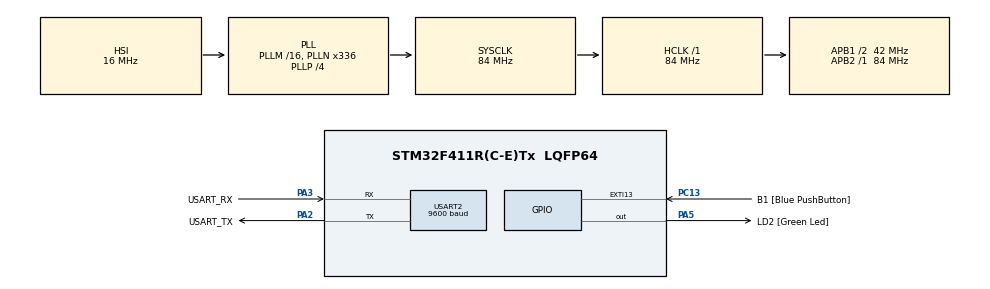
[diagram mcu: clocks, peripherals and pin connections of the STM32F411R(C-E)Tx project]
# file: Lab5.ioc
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Mcu.Family=STM32F4
Mcu.Name=STM32F411R(C-E)Tx
Mcu.Package=LQFP64
NVIC.EXTI15_10_IRQn=true\:0\:0\:false\:false\:true\:true\:true\:true
NVIC.PriorityGroup=NVIC_PRIORITYGROUP_0
NVIC.USART2_IRQn=true\:0\:0\:false\:false\:true\:true\:true\:true
PA13.GPIO_Label=TMS
PA13.Mode=Serial_Wire
PA13.Signal=SYS_JTMS-SWDIO
PA14.GPIO_Label=TCK
PA14.Mode=Serial_Wire
PA14.Signal=SYS_JTCK-SWCLK
PA2.GPIO_Label=USART_TX
PA2.Mode=Asynchronous
PA2.Signal=USART2_TX
PA3.GPIO_Label=USART_RX
PA3.Mode=Asynchronous
PA3.Signal=USART2_RX
PA5.GPIO_Label=LD2 [Green Led]
PA5.Signal=GPIO_Output
PB3.GPIO_Label=SWO
PB3.Signal=SYS_JTDO-SWO
PC13-ANTI_TAMP.GPIO_Label=B1 [Blue PushButton]
PC13-ANTI_TAMP.GPIO_ModeDefaultEXTI=GPIO_MODE_IT_RISING_FALLING
PC13-ANTI_TAMP.Signal=GPXTI13
PC14-OSC32_IN.Mode=LSE-External-Oscillator
PC14-OSC32_IN.Signal=RCC_OSC32_IN
PC15-OSC32_OUT.Mode=LSE-External-Oscillator
PC15-OSC32_OUT.Signal=RCC_OSC32_OUT
PH0\ -\ OSC_IN.Mode=HSE-External-Clock-Source
PH0\ -\ OSC_IN.Signal=RCC_OSC_IN
PH1\ -\ OSC_OUT.Mode=HSE-External-Clock-Source
PH1\ -\ OSC_OUT.Signal=RCC_OSC_OUT
ProjectManager.HeapSize=0x200
ProjectManager.StackSize=0x400
ProjectManager.TargetToolchain=STM32CubeIDE
RCC.48MHZClocksFreq_Value=84000000
RCC.AHBFreq_Value=84000000
RCC.APB1CLKDivider=RCC_HCLK_DIV2
RCC.APB1Freq_Value=42000000
RCC.APB1TimFreq_Value=84000000
RCC.APB2Freq_Value=84000000
RCC.APB2TimFreq_Value=84000000
RCC.CortexFreq_Value=84000000
RCC.FLatency-AdvancedSettings=FLASH_LATENCY_2
RCC.HCLKFreq_Value=84000000
RCC.HSE_VALUE=8000000
RCC.HSI_VALUE=16000000
RCC.PLLN=336
RCC.PLLP=RCC_PLLP_DIV4
RCC.SYSCLKFreq_VALUE=84000000
RCC.SYSCLKSource=RCC_SYSCLKSOURCE_PLLCLK
RCC.VCOOutputFreq_Value=336000000
USART2.BaudRate=9600
USART2.VirtualMode=VM_ASYNC
board=NUCLEO-F411RE

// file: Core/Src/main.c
/* USER CODE BEGIN Header */
/**
  ******************************************************************************
  * @file           : main.c
  * @brief          : Main program body
  ******************************************************************************
  * @attention
  *
  * Copyright (c) 2023 STMicroelectronics.
  * All rights reserved.
  *
  * This software is licensed under terms that can be found in the LICENSE file
  * in the root directory of this software component.
  * If no LICENSE file comes with this software, it is provided AS-IS.
  *
  ******************************************************************************
  */
/* USER CODE END Header */
#include "main.h"

/* USER CODE BEGIN Includes */
#include "stdio.h"
#include "string.h"
/* USER CODE END Includes */

UART_HandleTypeDef huart2;

/* USER CODE BEGIN PV */
uint8_t RxBuffer[5];
uint8_t TxBuffer[250];

uint32_t LED2HzAmount = 5;

uint8_t MenuStatus = 99;
uint8_t LED2Status = 1;
/* USER CODE END PV */

void SystemClock_Config(void);
static void MX_GPIO_Init(void);
static void MX_USART2_UART_Init(void);
/* USER CODE BEGIN PFP */
void UARTinterupt();
void BlinkLED();
void UARTinteruptConfig();
/* USER CODE END PFP */

int main(void)
{

  /* MCU Configuration--------------------------------------------------------*/

  /* Reset of all peripherals, Initializes the Flash interface and the Systick. */
  HAL_Init();

  /* Configure the system clock */
  SystemClock_Config();

  /* Initialize all configured peripherals */
  MX_GPIO_Init();
  MX_USART2_UART_Init();
  /* USER CODE BEGIN 2 */
  UARTinteruptConfig();
  /* USER CODE END 2 */

  /* Infinite loop */
  while (1)
  {

    /* USER CODE BEGIN 3 */
	BlinkLED();
  }
  /* USER CODE END 3 */
}

void SystemClock_Config(void)
{
  RCC_OscInitTypeDef RCC_OscInitStruct = {0};
  RCC_ClkInitTypeDef RCC_ClkInitStruct = {0};

  /** Configure the main internal regulator output voltage
  */
  __HAL_RCC_PWR_CLK_ENABLE();
  __HAL_PWR_VOLTAGESCALING_CONFIG(PWR_REGULATOR_VOLTAGE_SCALE1);

  /** Initializes the RCC Oscillators according to the specified parameters
  * in the RCC_OscInitTypeDef structure.
  */
  RCC_OscInitStruct.OscillatorType = RCC_OSCILLATORTYPE_HSI;
  RCC_OscInitStruct.HSIState = RCC_HSI_ON;
  RCC_OscInitStruct.HSICalibrationValue = RCC_HSICALIBRATION_DEFAULT;
  RCC_OscInitStruct.PLL.PLLState = RCC_PLL_ON;
  RCC_OscInitStruct.PLL.PLLSource = RCC_PLLSOURCE_HSI;
  RCC_OscInitStruct.PLL.PLLM = 16;
  RCC_OscInitStruct.PLL.PLLN = 336;
  RCC_OscInitStruct.PLL.PLLP = RCC_PLLP_DIV4;
  RCC_OscInitStruct.PLL.PLLQ = 4;
  if (HAL_RCC_OscConfig(&RCC_OscInitStruct) != HAL_OK)
  {
    Error_Handler();
  }

  /** Initializes the CPU, AHB and APB buses clocks
  */
  RCC_ClkInitStruct.ClockType = RCC_CLOCKTYPE_HCLK|RCC_CLOCKTYPE_SYSCLK
                              |RCC_CLOCKTYPE_PCLK1|RCC_CLOCKTYPE_PCLK2;
  RCC_ClkInitStruct.SYSCLKSource = RCC_SYSCLKSOURCE_PLLCLK;
  RCC_ClkInitStruct.AHBCLKDivider = RCC_SYSCLK_DIV1;
  RCC_ClkInitStruct.APB1CLKDivider = RCC_HCLK_DIV2;
  RCC_ClkInitStruct.APB2CLKDivider = RCC_HCLK_DIV1;

  if (HAL_RCC_ClockConfig(&RCC_ClkInitStruct, FLASH_LATENCY_2) != HAL_OK)
  {
    Error_Handler();
  }
}

static void MX_USART2_UART_Init(void)
{

  huart2.Instance = USART2;
  huart2.Init.BaudRate = 9600;
  huart2.Init.WordLength = UART_WORDLENGTH_8B;
  huart2.Init.StopBits = UART_STOPBITS_1;
  huart2.Init.Parity = UART_PARITY_NONE;
  huart2.Init.Mode = UART_MODE_TX_RX;
  huart2.Init.HwFlowCtl = UART_HWCONTROL_NONE;
  huart2.Init.OverSampling = UART_OVERSAMPLING_16;
  if (HAL_UART_Init(&huart2) != HAL_OK)
  {
    Error_Handler();
  }

}

static void MX_GPIO_Init(void)
{
  GPIO_InitTypeDef GPIO_InitStruct = {0};

  /* GPIO Ports Clock Enable */
  __HAL_RCC_GPIOC_CLK_ENABLE();
  __HAL_RCC_GPIOH_CLK_ENABLE();
  __HAL_RCC_GPIOA_CLK_ENABLE();
  __HAL_RCC_GPIOB_CLK_ENABLE();

  /*Configure GPIO pin Output Level */
  HAL_GPIO_WritePin(LD2_GPIO_Port, LD2_Pin, GPIO_PIN_RESET);

  /*Configure GPIO pin : B1_Pin */
  GPIO_InitStruct.Pin = B1_Pin;
  GPIO_InitStruct.Mode = GPIO_MODE_IT_RISING_FALLING;
  GPIO_InitStruct.Pull = GPIO_NOPULL;
  HAL_GPIO_Init(B1_GPIO_Port, &GPIO_InitStruct);

  /*Configure GPIO pin : LD2_Pin */
  GPIO_InitStruct.Pin = LD2_Pin;
  GPIO_InitStruct.Mode = GPIO_MODE_OUTPUT_PP;
  GPIO_InitStruct.Pull = GPIO_NOPULL;
  GPIO_InitStruct.Speed = GPIO_SPEED_FREQ_LOW;
  HAL_GPIO_Init(LD2_GPIO_Port, &GPIO_InitStruct);

  /* EXTI interrupt init*/
  HAL_NVIC_SetPriority(EXTI15_10_IRQn, 0, 0);
  HAL_NVIC_EnableIRQ(EXTI15_10_IRQn);

}

/* USER CODE BEGIN 4 */
void UARTinteruptConfig(){
	HAL_UART_Receive_IT(&huart2, RxBuffer, 1);
	sprintf((char*)TxBuffer, "Main Menu:\n\n\r 0 - LD2 Control\n\r 1 - BTN1 Status\n\n\rEnter Option to Continue: ");
	HAL_UART_Transmit_IT(&huart2, TxBuffer, strlen((char*)TxBuffer));
}

void HAL_GPIO_EXTI_Callback (uint16_t GPIO_Pin){
	if (GPIO_Pin == GPIO_PIN_13){
		if (MenuStatus == 1){
			sprintf((char*)TxBuffer, "BTN1 Triggered\r\nBTN1 Status Panel:\n\n\r push B1 - Report Status\n\r x - Back\n\n\rEnter Option to Continue: ");
			HAL_UART_Transmit_IT(&huart2, TxBuffer, strlen((char*)TxBuffer));
		}
	}
}

void HAL_UART_RxCpltCallback(UART_HandleTypeDef *huart){
	if (huart == &huart2){
		RxBuffer[1]='\0';

//		sprintf((char*)TxBuffer, "%s\r\n", RxBuffer);
//		HAL_UART_Transmit_IT(&huart2, TxBuffer, strlen((char*)TxBuffer));

		// toggle menu
		if (MenuStatus == 99){
			if (RxBuffer[0] == 48){
				sprintf((char*)TxBuffer, "%s\r\nLD2 Control Panel:\n\n\r a - Speed Up 1Hz\n\r s - Speed Down 1Hz\n\r d - On-Off\n\r x - Back\n\n\rEnter Option to Continue: " ,RxBuffer);
				HAL_UART_Transmit_IT(&huart2, TxBuffer, strlen((char*)TxBuffer));
				MenuStatus = 0;
			}
			else if (RxBuffer[0] == 49){
				sprintf((char*)TxBuffer, "%s\r\nBTN1 Status Panel:\n\n\r push B1 - Report Status\n\r x - Back\n\n\rEnter Option to Continue: " ,RxBuffer);
				HAL_UART_Transmit_IT(&huart2, TxBuffer, strlen((char*)TxBuffer));
				MenuStatus = 1;
			}
			else {
				sprintf((char*)TxBuffer, "%s\r\nWrong input - Return to Main Menu\n\r\nMain Menu:\n\n\r 0 - LD2 Control\n\r 1 - BTN1 Status\n\n\rEnter Option to Continue: " ,RxBuffer);
				HAL_UART_Transmit_IT(&huart2, TxBuffer, strlen((char*)TxBuffer));
			}
		}

		// LED2 sub-menu
		if (MenuStatus == 0){
			// a
			if(RxBuffer[0] == 97){
				LED2HzAmount += 1;
				sprintf((char*)TxBuffer, "%s\r\nSpeed up to %lu Hz \r\nLD2 Control Panel:\n\n\r a - Speed Up 1Hz\n\r s - Speed Down 1Hz\n\r d - On-Off\n\r x - Back\n\n\rEnter Option to Continue: " ,RxBuffer ,LED2HzAmount);
				HAL_UART_Transmit_IT(&huart2, TxBuffer, strlen((char*)TxBuffer));

			}
			// s
			else if (RxBuffer[0] == 115){
				if(LED2HzAmount>1){LED2HzAmount -= 1;}
				sprintf((char*)TxBuffer, "%s\r\nSpeed down to %lu Hz \r\nLD2 Control Panel:\n\n\r a - Speed Up 1Hz\n\r s - Speed Down 1Hz\n\r d - On-Off\n\r x - Back\n\n\rEnter Option to Continue: " ,RxBuffer ,LED2HzAmount);
				HAL_UART_Transmit_IT(&huart2, TxBuffer, strlen((char*)TxBuffer));
			}

			// d
			else if (RxBuffer[0] == 100){
				sprintf((char*)TxBuffer, "%s\r\nOn-Off LD2 \r\nLD2 Control Panel:\n\n\r a - Speed Up 1Hz\n\r s - Speed Down 1Hz\n\r d - On-Off\n\r x - Back\n\n\rEnter Option to Continue: " ,RxBuffer);
				HAL_UART_Transmit_IT(&huart2, TxBuffer, strlen((char*)TxBuffer));
				if(LED2Status == 0){LED2Status = 1;}
				else if(LED2Status == 1){LED2Status = 0;}
			}

			// x
			else if (RxBuffer[0] == 120){
				sprintf((char*)TxBuffer, "%s\r\nMain Menu:\n\n\r 0 - LD2 Control\n\r 1 - BTN1 Status\n\n\rEnter Option to Continue: " ,RxBuffer);
				HAL_UART_Transmit_IT(&huart2, TxBuffer, strlen((char*)TxBuffer));
				MenuStatus = 99;
			}

			// other case
			else {
				sprintf((char*)TxBuffer, "%s\r\nWrong input - Return to LD2 Control Panel\r\nLD2 Control Panel:\n\n\r a - Speed Up 1Hz\n\r s - Speed Down 1Hz\n\r d - On-Off\n\r x - Back\n\n\rEnter Option to Continue: " ,RxBuffer);
				HAL_UART_Transmit_IT(&huart2, TxBuffer, strlen((char*)TxBuffer));
			}
		}

		// BTN1 sub-menu
		if (MenuStatus == 1){
			// x
			if (RxBuffer[0] == 120){
				sprintf((char*)TxBuffer, "%s\r\nMain Menu:\n\n\r 0 - LD2 Control\n\r 1 - BTN1 Status\n\n\rEnter Option to Continue: " ,RxBuffer);
				HAL_UART_Transmit_IT(&huart2, TxBuffer, strlen((char*)TxBuffer));
				MenuStatus = 99;
			}
			// other case
			else {
				sprintf((char*)TxBuffer, "%s\r\nWrong input - Return to BTN1 Status Panel\r\nBTN1 Status Panel:\n\n\r push B1 - Report Status\n\r x - Back\n\n\rEnter Option to Continue: " ,RxBuffer);
				HAL_UART_Transmit_IT(&huart2, TxBuffer, strlen((char*)TxBuffer));
			}
		}

		HAL_UART_Receive_IT(&huart2, RxBuffer, 1);
	}
}

void UARTinterupt(){
}

void BlinkLED(){
	static uint32_t timestamp = 0;
	if (HAL_GetTick()>= timestamp){
		if (LED2Status == 1){
			timestamp = HAL_GetTick()+((1000/LED2HzAmount)/2);
			HAL_GPIO_TogglePin(LD2_GPIO_Port, LD2_Pin);
		}
		else if (LED2Status == 0){
			HAL_GPIO_WritePin(LD2_GPIO_Port, LD2_Pin, GPIO_PIN_RESET);
		}
	}
}
/* USER CODE END 4 */

void Error_Handler(void)
{
  __disable_irq();
  while (1)
  {
  }
}
